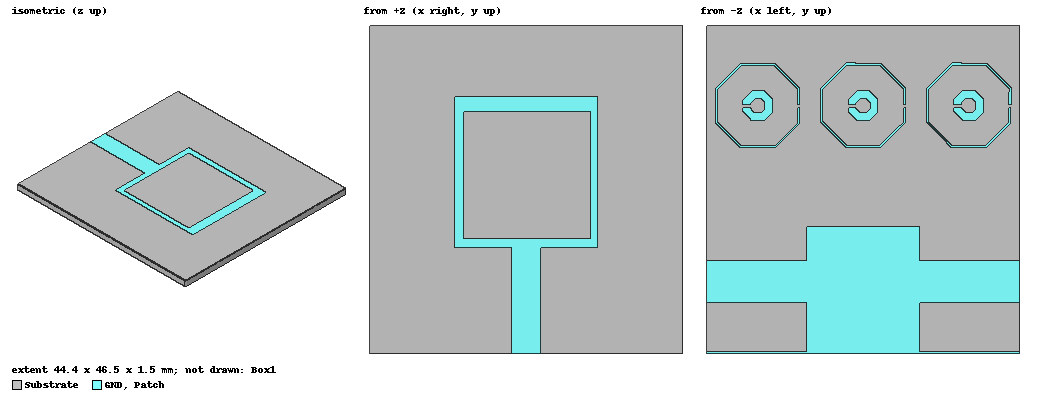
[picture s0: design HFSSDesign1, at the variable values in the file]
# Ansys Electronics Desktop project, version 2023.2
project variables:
  $f = 2.45GHz
  $epsilon_r = 2.2
  $h = 1.5mm
  $Wp = 20.4mm
  $Lp = 21.5mm
  $Wg = $Wp + 16*$h
  $Lg = $Lp + $Lf + $z
  $Wf = 4.05mm
  $g = 4mm
  $d = 4mm
  $Lf = 15mm
  $z = 10mm
  $x_centro_afuera = 2.111588278mm
  $x_centro_interior = $x_centro_afuera-$r_chica
  $Factor_gap = 0.08
  $C_centro_afuera = 5.982880435mm
  $C_centro_interior = $C_centro_afuera-$r_grande
  $ras = 1.05
  $r_grande = 0.28878261mm
  $r_chica = 1.101761707mm
  $dist_feed = ((3.0e8)/(sqrt($epsilon_r)))/($f*15)
  $CC = ($C_centro_afuera)*$ras + $dist_feed
  $larguito = 18mm  # optimise 9mm..27mm
  $deltay = -35mm
  $deltay_superior = -5mm
  $deltax_superior = 0mm
  $espaciado_arriba = 3mm
  $deltax = 0mm
  $espaciado = 0mm
  $offset = 0.1mm  # optimise -1mm..1mm
  $LHollow = 18mm  # optimise 9mm..27mm
  $LCuadrado = 10.3mm  # optimise 5.1mm..15.3mm
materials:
  vacuum: permittivity=1
  Rogers RO3003 (tm): permittivity=3 dielectric_loss_tangent=0.0013
  Rogers RT/duroid 5880 (tm): permittivity=2.2 dielectric_loss_tangent=0.0009
  air: permittivity=1.0006 permeability=1.0000004

design HFSSDesign1 (HFSS, HFSS Terminal Network, model units mm)
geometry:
  GND = rectangle(corner=(-$Wg/2, -$Lg/2, 0mm), x_size=$Wg, y_size=$larguito)
  Substrate [Rogers RT/duroid 5880 (tm)] = box(corner=(-$Wg/2, -$Lg/2, 0mm), size=($Wg, $Lg, $h))
  Patch = rectangle(corner=(-$Wp/2, -$Lg/2 +$Lf, $h), x_size=$Wp, y_size=$Lp)
  Feed = rectangle(corner=(-$Wf/2, -$Lg/2, $h), x_size=$Wf, y_size=$d + $Lf)
  Port = rectangle(corner=(-$Wf/2, -$Lg/2, 0mm), z_size=$h, x_size=$Wf)
  Patch.unite(Feed)
  Box1 [air] = box(corner=(-150mm, -150mm, -150mm), size=(300mm, 300mm, 300mm))
  Polygon17 = regular_polygon(axis=Z, centre=($Wp/2 + $dist_feed, $Lp/2, 0), first_corner=($Wp/2 + $dist_feed+$C_centro_afuera, $Lp/2+$C_centro_afuera*0.4116933, 0), sides=8)
  Polygon19 = regular_polygon(axis=Z, centre=($Wp/2 + $dist_feed, $Lp/2, 0), first_corner=($Wp/2 + $dist_feed+$C_centro_interior, $Lp/2+$C_centro_interior*0.4116933, 0), sides=8)
  Rectangle9 = rectangle(corner=($Wp/2 + $dist_feed + $C_centro_interior -0.03e-3, $Lp/2+ $offset, 0), x_size=$r_grande*1.1, y_size=-2*$C_centro_interior*0.4116933*$Factor_gap)
  Polygon17.subtract(Polygon19, Rectangle9)
  Polygon18 = regular_polygon(axis=Z, centre=($Wp/2 + $dist_feed, $Lp/2, 0), first_corner=($Wp/2 + $dist_feed+$x_centro_afuera, $Lp/2+$x_centro_afuera*0.4116933, 0), sides=8)
  Polygon20 = regular_polygon(axis=Z, centre=($Wp/2 + $dist_feed, $Lp/2, 0), first_corner=($Wp/2 + $dist_feed+$x_centro_interior, $Lp/2+$x_centro_interior*0.4116933, 0), sides=8)
  Rectangle10 = rectangle(corner=($Wp/2 + $dist_feed -$x_centro_afuera, $Lp/2 + $offset, 0), x_size=$r_chica*1.1, y_size=-2*$C_centro_interior*0.4116933*$Factor_gap)
  Polygon18.subtract(Polygon20, Rectangle10)
  [Polygon17, Polygon18].mirror(point=(0mm, 0mm, 0mm), normal=(-1mm, 0mm, 0mm))
  [Polygon17, Polygon18].move(0mm, 8mm, 0mm)
  [Polygon17, Polygon18].move(30mm, -2mm, 0mm)
  Polygon17_2 = Polygon17.duplicate_along_line(step=(-12mm, 0mm, 0mm), total=2)
  Polygon18_2 = Polygon18.duplicate_along_line(step=(-12mm, 0mm, 0mm), total=2)
  [Polygon18_2, Polygon17_2, Polygon18, Polygon17].move(-2.3668017mm, 0.14001052mm, 0mm)
  Polygon18_2_1 = Polygon18_2.duplicate_along_line(step=(-11.934917mm, 0.063636854mm, 0mm), total=2)
  Polygon18_2.delete()
  Polygon17_2_1 = Polygon17_2.duplicate_along_line(step=(-11.934917mm, 0.063636854mm, 0mm), total=2)
  Polygon17_2.delete()
  Polygon18_3 = Polygon18.duplicate_along_line(step=(-11.934917mm, 0.063636854mm, 0mm), total=2)
  Polygon17_3 = Polygon17.duplicate_along_line(step=(-11.934917mm, 0.063636854mm, 0mm), total=2)
  [Polygon17, Polygon18, Polygon17_2_1, Polygon17_3, Polygon18_2_1, Polygon18_3].move($deltax_superior, $deltay_superior, 0mm)
  [Polygon17_2_1, Polygon18_2_1].move(-$espaciado_arriba, 0mm, 0mm)
  [Polygon17, Polygon18].move($espaciado_arriba, 0mm, 0mm)
  GND.unite(Polygon17_2_1, Polygon17_3, Polygon18_2_1, Polygon18_3, Polygon17, Polygon18)
  Rectangle11 = rectangle(corner=(-$Wp/2 + $LCuadrado-$LHollow/2, -$Lg/2+$Lf+$LCuadrado-$LHollow/2, $h), x_size=$LHollow, y_size=$LHollow)
  Patch.subtract(Rectangle11)
  Rectangle12 = rectangle(corner=(22.2mm, -4.9mm, 0mm), x_size=-14.2mm, y_size=-5.1mm)
  Rectangle13 = rectangle(corner=(-22.2mm, -4.9mm, 0mm), x_size=14.2mm, y_size=-5.1mm)
  GND.subtract(Rectangle12, Rectangle13)
  Rectangle14 = rectangle(corner=(22.2mm, -22.9mm, 0mm), x_size=-14.2mm, y_size=6.9mm)
  Rectangle15 = rectangle(corner=(-22.2mm, -22.9mm, 0mm), x_size=14.2mm, y_size=6.9mm)
  GND.subtract(Rectangle14, Rectangle15)
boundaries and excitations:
  PerfE1: Perfect E Objects=Patch
  PerfE2: Perfect E Objects=GND
  Rad1: Radiation Objects=Box1
  1: Lumped Port Objects=Port LumpedPortType=Modal Modes{Mode1{IntLine{(0, -23.25, 0) -> (0, -23.25, 1.5)} CharImp=Zpi RenormImp=50ohm}} Impedance=50ohm
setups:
  Setup1: HfssDriven Frequency=2.45GHz MaxDeltaS=0.02 MaximumPasses=20 MinimumPasses=1 MinimumConvergedPasses=1 PercentRefinement=30 BasisOrder=1 PortAccuracy=2 DrivenSolverType="Direct Solver"
    sweep Sweep: 2GHz to 7GHz step 0.01GHz; Type=Fast SaveFields
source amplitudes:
  1:1: 1V 0deg
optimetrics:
  ParametricSetup1: Parametric disabled Sim._Setups=[Setup1]
    sweep $g: LIN 2mm 4mm 0.5mm
    sweep $Lf: LIN 10mm 20mm 1mm
    sweep $d: LIN 4mm 6.3mm 0.5mm
  ParametricSetup2: Parametric disabled Sim._Setups=[Setup1]
    sweep $offset: LIN 0mm 0.2mm 0.01mm
  ParametricSetup3: Parametric disabled Sim._Setups=[Setup1]
    sweep $espaciado: LIN -7mm 0mm 1mm
    sweep $larguito: LIN 5mm 20mm 1mm
    sweep $LHollow: LIN 13mm 18mm 1mm
    sweep $x_centro_afuera: LIN 1.1115883mm 3.3347648mm 1mm
  OptimizationSetup1: Optimization disabled Optimizer="kDX ASO" AnalysisStopOptions{StopForNumIteration MaxNumIteration=92 MinNumIteration=10} CostFuncNormType=L2 Acceptable_Cost=0 Noise=0.0001 UpdateDesignWhenDone
    goal dB(St(1,1)) Minimize 0 weight 1 on Setup1 : Sweep at Freq 2.45GHz
  ParametricSetup4: Parametric disabled Sim._Setups=[Setup1]
    sweep $Lp: LIN 19mm 21mm 0.1mm
    sweep $Wf: LIN 2.05mm 6.05mm 1mm
  OptimizationSetup2: Optimization disabled Optimizer="kDX ASO" AnalysisStopOptions{StopForNumIteration MaxNumIteration=68 MinNumIteration=10} CostFuncNormType=L2 Acceptable_Cost=0 Noise=0.0001 UpdateDesignWhenDone
    vary $LCuadrado: Min=9.7mm Max=10.7mm MinStep=0.102mm MaxStep=1.02mm MinFocus=5.1mm MaxFocus=15.3mm start=10.2mm
    vary $LHollow: Min=9mm Max=19mm MinStep=0.18mm MaxStep=1.8mm MinFocus=9mm MaxFocus=27mm start=18mm
    vary $offset: Min=0mm Max=0.1mm MinStep=0.02mm MaxStep=0.2mm MinFocus=-1mm MaxFocus=1mm start=0mm
    goal dB(St(1,1)) Minimize 0 weight 1 on Setup1 : Sweep at Freq 2.45GHz
  ParametricSetup5: Parametric disabled Sim._Setups=[Setup1]
    sweep $larguito: LIN 18mm 27mm 1mm
    sweep $LCuadrado: LIN 9.7mm 10.7mm 0.1mm
    sweep $offset: LIN 0mm 0.1mm 0.01mm
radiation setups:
  Infinite Sphere1: Infinite Sphere Theta=0deg..360deg step 2deg Phi=0deg..90deg step 90deg
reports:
  Terminal S Parameter Plot 1: dB(St(1,1)) vs Freq on Setup1 : Sweep
  Gain Plot 1: dB(GainTotal) vs Theta on Setup1 : LastAdaptive, Infinite Sphere1 [Phi=all Freq=2.45GHz]
